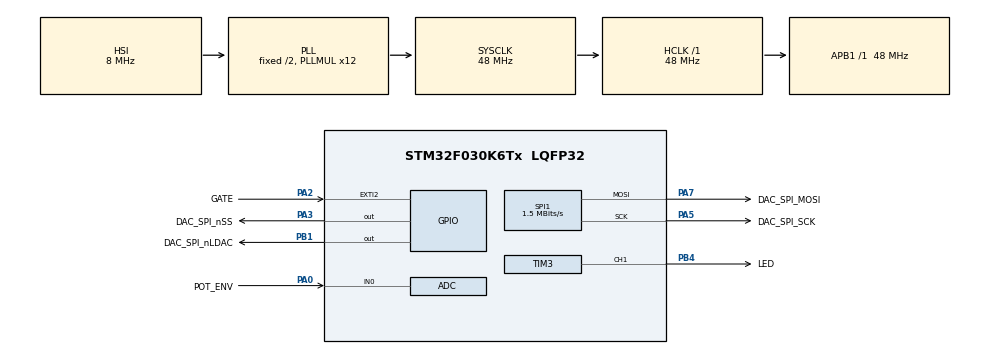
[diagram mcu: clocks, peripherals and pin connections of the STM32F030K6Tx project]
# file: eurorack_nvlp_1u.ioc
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ADC.ContinuousConvMode=DISABLE
ADC.DataAlign=ADC_DATAALIGN_LEFT
ADC.ExternalTrigConv=ADC_EXTERNALTRIGCONV_T1_TRGO
ADC.Overrun=ADC_OVR_DATA_OVERWRITTEN
ADC.SamplingTime=ADC_SAMPLETIME_41CYCLES_5
Mcu.Family=STM32F0
Mcu.Name=STM32F030K6Tx
Mcu.Package=LQFP32
NVIC.ADC1_IRQn=true\:0\:0\:false\:false\:true\:true\:true\:true
NVIC.EXTI2_3_IRQn=true\:0\:0\:false\:false\:true\:true\:true\:true
PA0.GPIO_Label=POT_ENV
PA0.Mode=IN0
PA0.Signal=ADC_IN0
PA13.Mode=Serial_Wire
PA13.Signal=SYS_SWDIO
PA14.Mode=Serial_Wire
PA14.Signal=SYS_SWCLK
PA2.GPIO_Label=GATE
PA2.Signal=GPXTI2
PA3.GPIO_Label=DAC_SPI_nSS
PA3.PinState=GPIO_PIN_SET
PA3.Signal=GPIO_Output
PA5.GPIO_Label=DAC_SPI_SCK
PA5.Mode=TX_Only_Simplex_Unidirect_Master
PA5.Signal=SPI1_SCK
PA7.GPIO_Label=DAC_SPI_MOSI
PA7.Mode=TX_Only_Simplex_Unidirect_Master
PA7.Signal=SPI1_MOSI
PB1.GPIO_Label=DAC_SPI_nLDAC
PB1.Signal=GPIO_Output
PB4.GPIO_Label=LED
PB4.Signal=S_TIM3_CH1
ProjectManager.HeapSize=0x000
ProjectManager.StackSize=0x400
ProjectManager.TargetToolchain=Makefile
RCC.AHBFreq_Value=48000000
RCC.APB1Freq_Value=48000000
RCC.APB1TimFreq_Value=48000000
RCC.HCLKFreq_Value=48000000
RCC.HSE_VALUE=16000000
RCC.PLLMUL=RCC_PLL_MUL12
RCC.SYSCLKFreq_VALUE=48000000
RCC.SYSCLKSource=RCC_SYSCLKSOURCE_PLLCLK
SH.S_TIM3_CH1.0=TIM3_CH1,PWM Generation1 CH1
SPI1.BaudRatePrescaler=SPI_BAUDRATEPRESCALER_32
SPI1.CalculateBaudRate=1.5 MBits/s
SPI1.DataSize=SPI_DATASIZE_8BIT
SPI1.Direction=SPI_DIRECTION_2LINES
SPI1.Mode=SPI_MODE_MASTER
SPI1.VirtualType=VM_MASTER
TIM1.Period=48000-1
TIM1.TIM_MasterOutputTrigger=TIM_TRGO_UPDATE
TIM3.Channel-PWM\ Generation1\ CH1=TIM_CHANNEL_1
VP_TIM1_VS_ClockSourceINT.Mode=Internal
board=custom

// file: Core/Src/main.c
/* USER CODE BEGIN Header */
/**
  ******************************************************************************
  * @file           : main.c
  * @brief          : Main program body
  ******************************************************************************
  * @attention
  *
  * Copyright (c) 2022 STMicroelectronics.
  * All rights reserved.
  *
  * This software is licensed under terms that can be found in the LICENSE file
  * in the root directory of this software component.
  * If no LICENSE file comes with this software, it is provided AS-IS.
  *
  ******************************************************************************
  */
/* USER CODE END Header */
#include "main.h"
#include "adc.h"
#include "spi.h"
#include "tim.h"
#include "gpio.h"

/* USER CODE BEGIN Includes */
#include "nvlp.h"
/* USER CODE END Includes */

/* USER CODE BEGIN PV */
h_nvlp_t h_nvlp;
nvlp_driver_t nvlp_driver;
/* USER CODE END PV */

void SystemClock_Config(void);
/* USER CODE BEGIN PFP */
uint32_t irq_counter = 0;
/* USER CODE END PFP */

/* USER CODE BEGIN 0 */
void HAL_ADC_ConvCpltCallback(ADC_HandleTypeDef* hadc)
{
  if (ADC1 == hadc->Instance)
  {
    nvlp_interrupt_callback(&h_nvlp);
    irq_counter++;
  }
}

uint8_t get_gate_pin(void)
{
  // if (GPIO_PIN_RESET == HAL_GPIO_ReadPin(GATE_GPIO_Port, GATE_Pin))
  // {
  //   return 0;
  // }
  // else
  // {
  //   return 1;
  // }

  if ((HAL_GetTick()%1000) == 0)
  {
    return 1;
  }
  else
  {
    return 0;
  }
}

uint16_t get_potentiometer(void)
{
  return (uint16_t) 65535 - HAL_ADC_GetValue(&hadc);
}

#define MCP49X1_UNBUFFERED 0
#define MCP49X1_BUFFERED 0x4000

#define MCP49X1_GAIN_0 0
#define MCP49X1_GAIN_1 0x2000

#define MCP49X1_SHDN 0
#define MCP49X1_ACTIVE 0x1000

void set_output(uint16_t value)
{
  //SPI 20MHz max (-> configured to 12MHz in CubeMX)
  //SPI supports mode 0,0 and 1,1 so CPOL=Low and CPHA=1 Edge I guess?
  //SPI is 16 bits
  //VREF in unbuffered mode (to be rail to rail 0->5V) (BUF = 0)
  //Gain is 1 (GA = 1)
  //Output activated (SHDN=1)
  //Value from bit 11 downto 0

  uint16_t command = (value >> 4) & 0x0FFF;
  command += (MCP49X1_UNBUFFERED | MCP49X1_GAIN_1 | MCP49X1_ACTIVE);

  uint8_t buffer[2] = {(command >> 8) & 0xFF, command & 0xFF};

  // Lights the LED with the full value
  __HAL_TIM_SET_COMPARE(&htim3, TIM_CHANNEL_1, value);

  HAL_GPIO_WritePin(DAC_SPI_nSS_GPIO_Port, DAC_SPI_nSS_Pin, GPIO_PIN_RESET);
  HAL_SPI_Transmit(&hspi1, buffer, 2, HAL_MAX_DELAY);
  HAL_GPIO_WritePin(DAC_SPI_nSS_GPIO_Port, DAC_SPI_nSS_Pin, GPIO_PIN_SET);
}

/* USER CODE END 0 */

int main(void)
{

  /* MCU Configuration--------------------------------------------------------*/

  /* Reset of all peripherals, Initializes the Flash interface and the Systick. */
  HAL_Init();

  /* Configure the system clock */
  SystemClock_Config();

  /* Initialize all configured peripherals */
  MX_GPIO_Init();
  MX_ADC_Init();
  MX_SPI1_Init();
  MX_TIM3_Init();
  MX_TIM1_Init();
  /* USER CODE BEGIN 2 */
  DBGMCU->APB2FZ |= DBGMCU_APB2_FZ_DBG_TIM1_STOP;

  HAL_ADCEx_Calibration_Start(&hadc);

  nvlp_driver.get_gate_pin = get_gate_pin;
  nvlp_driver.get_potentiometer = get_potentiometer;
  nvlp_driver.set_output = set_output;

  h_nvlp.driver = &nvlp_driver;

  h_nvlp.is_lfo = true;
  nvlp_init(&h_nvlp);

  HAL_TIM_PWM_Start(&htim3, TIM_CHANNEL_1);
  HAL_ADC_Start_IT(&hadc);
  HAL_TIM_Base_Start(&htim1);

  /* USER CODE END 2 */

  /* Infinite loop */
  while (1)
  {

  }
}

void SystemClock_Config(void)
{
  RCC_OscInitTypeDef RCC_OscInitStruct = {0};
  RCC_ClkInitTypeDef RCC_ClkInitStruct = {0};

  /** Initializes the RCC Oscillators according to the specified parameters
  * in the RCC_OscInitTypeDef structure.
  */
  RCC_OscInitStruct.OscillatorType = RCC_OSCILLATORTYPE_HSI|RCC_OSCILLATORTYPE_HSI14;
  RCC_OscInitStruct.HSIState = RCC_HSI_ON;
  RCC_OscInitStruct.HSI14State = RCC_HSI14_ON;
  RCC_OscInitStruct.HSICalibrationValue = RCC_HSICALIBRATION_DEFAULT;
  RCC_OscInitStruct.HSI14CalibrationValue = 16;
  RCC_OscInitStruct.PLL.PLLState = RCC_PLL_ON;
  RCC_OscInitStruct.PLL.PLLSource = RCC_PLLSOURCE_HSI;
  RCC_OscInitStruct.PLL.PLLMUL = RCC_PLL_MUL12;
  RCC_OscInitStruct.PLL.PREDIV = RCC_PREDIV_DIV1;
  if (HAL_RCC_OscConfig(&RCC_OscInitStruct) != HAL_OK)
  {
    Error_Handler();
  }

  /** Initializes the CPU, AHB and APB buses clocks
  */
  RCC_ClkInitStruct.ClockType = RCC_CLOCKTYPE_HCLK|RCC_CLOCKTYPE_SYSCLK
                              |RCC_CLOCKTYPE_PCLK1;
  RCC_ClkInitStruct.SYSCLKSource = RCC_SYSCLKSOURCE_PLLCLK;
  RCC_ClkInitStruct.AHBCLKDivider = RCC_SYSCLK_DIV1;
  RCC_ClkInitStruct.APB1CLKDivider = RCC_HCLK_DIV1;

  if (HAL_RCC_ClockConfig(&RCC_ClkInitStruct, FLASH_LATENCY_1) != HAL_OK)
  {
    Error_Handler();
  }
}

void Error_Handler(void)
{
  __disable_irq();
  while (1)
  {
  }
}
